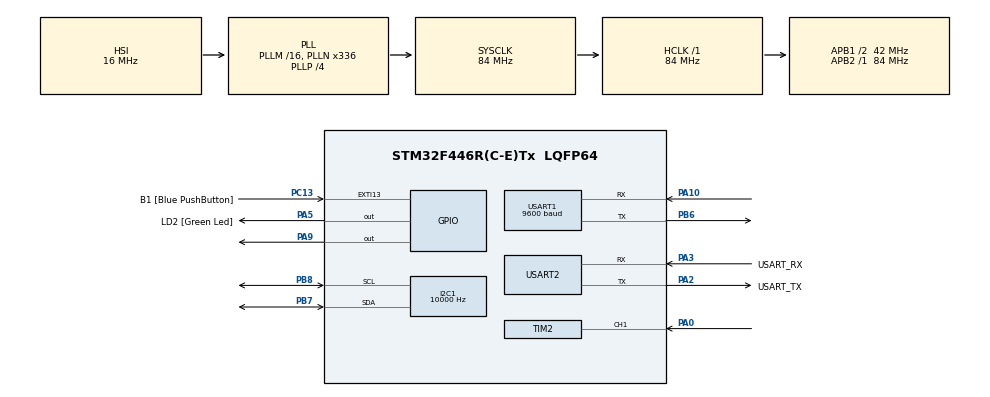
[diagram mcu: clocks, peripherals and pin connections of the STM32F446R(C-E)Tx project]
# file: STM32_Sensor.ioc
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FREERTOS.Tasks01=defaultTask,0,128,StartDefaultTask,Default,NULL,Dynamic,NULL,NULL
I2C1.ClockSpeed=10000
Mcu.Family=STM32F4
Mcu.Name=STM32F446R(C-E)Tx
Mcu.Package=LQFP64
NVIC.PriorityGroup=NVIC_PRIORITYGROUP_4
NVIC.TIM2_IRQn=true\:5\:0\:false\:false\:true\:true\:true\:true
PA0-WKUP.Signal=S_TIM2_CH1_ETR
PA10.Mode=Asynchronous
PA10.Signal=USART1_RX
PA13.GPIO_Label=TMS
PA13.Mode=Serial_Wire
PA13.Signal=SYS_JTMS-SWDIO
PA14.GPIO_Label=TCK
PA14.Mode=Serial_Wire
PA14.Signal=SYS_JTCK-SWCLK
PA2.GPIO_Label=USART_TX
PA2.Mode=Asynchronous
PA2.Signal=USART2_TX
PA3.GPIO_Label=USART_RX
PA3.Mode=Asynchronous
PA3.Signal=USART2_RX
PA5.GPIO_Label=LD2 [Green Led]
PA5.Signal=GPIO_Output
PA9.Signal=GPIO_Output
PB3.GPIO_Label=SWO
PB3.Signal=SYS_JTDO-SWO
PB6.Mode=Asynchronous
PB6.Signal=USART1_TX
PB7.Mode=I2C
PB7.Signal=I2C1_SDA
PB8.Mode=I2C
PB8.Signal=I2C1_SCL
PC13.GPIO_Label=B1 [Blue PushButton]
PC13.GPIO_ModeDefaultEXTI=GPIO_MODE_IT_FALLING
PC13.Signal=GPXTI13
PC14-OSC32_IN.Mode=LSE-External-Oscillator
PC14-OSC32_IN.Signal=RCC_OSC32_IN
PC15-OSC32_OUT.Mode=LSE-External-Oscillator
PC15-OSC32_OUT.Signal=RCC_OSC32_OUT
PH0-OSC_IN.Mode=HSE-External-Oscillator
PH0-OSC_IN.Signal=RCC_OSC_IN
PH1-OSC_OUT.Mode=HSE-External-Oscillator
PH1-OSC_OUT.Signal=RCC_OSC_OUT
ProjectManager.HeapSize=0x200
ProjectManager.StackSize=0x400
ProjectManager.TargetToolchain=STM32CubeIDE
RCC.48MHZClocksFreq_Value=84000000
RCC.AHBFreq_Value=84000000
RCC.APB1CLKDivider=RCC_HCLK_DIV2
RCC.APB1Freq_Value=42000000
RCC.APB1TimFreq_Value=84000000
RCC.APB2Freq_Value=84000000
RCC.APB2TimFreq_Value=84000000
RCC.CortexFreq_Value=84000000
RCC.FLatency-AdvancedSettings=FLASH_LATENCY_2
RCC.HCLKFreq_Value=84000000
RCC.HSE_VALUE=8000000
RCC.HSI_VALUE=16000000
RCC.PLLN=336
RCC.PLLP=RCC_PLLP_DIV4
RCC.SYSCLKFreq_VALUE=84000000
RCC.SYSCLKSource=RCC_SYSCLKSOURCE_PLLCLK
RCC.USBFreq_Value=168000000
RCC.VCOOutputFreq_Value=336000000
SH.S_TIM2_CH1_ETR.0=TIM2_CH1,Input_Capture1_from_TI1
TIM2.Channel-Input_Capture1_from_TI1=TIM_CHANNEL_1
TIM2.Period=0xffff-1
TIM2.Prescaler=84-1
USART1.BaudRate=9600
USART1.VirtualMode=VM_ASYNC
USART2.VirtualMode=VM_ASYNC
VP_FREERTOS_VS_CMSIS_V1.Mode=CMSIS_V1
board=NUCLEO-F446RE

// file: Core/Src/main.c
/* USER CODE BEGIN Header */
/**
  ******************************************************************************
  * @file           : main.c
  * @brief          : Main program body
  ******************************************************************************
  * @attention
  *
  * <h2><center>&copy; Copyright (c) 2020 STMicroelectronics.
  * All rights reserved.</center></h2>
  *
  * This software component is licensed by ST under BSD 3-Clause license,
  * the "License"; You may not use this file except in compliance with the
  * License. You may obtain a copy of the License at:
  *                        opensource.org/licenses/BSD-3-Clause
  *
  ******************************************************************************
  */
/* USER CODE END Header */

#include "main.h"
#include "cmsis_os.h"

/* USER CODE BEGIN Includes */
#include <string.h>
#include<stdio.h>
#include "TJ_MPU6050.h"
#include "STM32_HCSR04.h"
/* USER CODE END Includes */

I2C_HandleTypeDef hi2c1;

TIM_HandleTypeDef htim2;

UART_HandleTypeDef huart1;
UART_HandleTypeDef huart2;

osThreadId defaultTaskHandle;
/* USER CODE BEGIN PV */

osThreadId MPU6050TaskHandle;

uint8_t Distance  = 0;
uint16_t DevAddress=(0x68 << 1);

RawData_Def myAccelRaw, myGyroRaw;
ScaledData_Def myAccelScaled, myGyroScaled;
/* USER CODE END PV */

void SystemClock_Config(void);
static void MX_GPIO_Init(void);
static void MX_USART2_UART_Init(void);
static void MX_I2C1_Init(void);
static void MX_TIM2_Init(void);
static void MX_USART1_UART_Init(void);
void StartDefaultTask(void const * argument);

/* USER CODE BEGIN PFP */
void StartMPU6050Task(void const * argument);
/* USER CODE END PFP */

int main(void)
{
  /* USER CODE BEGIN 1 */
	uint8_t check;

	MPU_ConfigTypeDef myMpuConfig;
  /* USER CODE END 1 */

  /* MCU Configuration--------------------------------------------------------*/

  /* Reset of all peripherals, Initializes the Flash interface and the Systick. */
  HAL_Init();

  /* Configure the system clock */
  SystemClock_Config();

  /* Initialize all configured peripherals */
  MX_GPIO_Init();
  MX_USART2_UART_Init();
  MX_I2C1_Init();
  MX_TIM2_Init();
  MX_USART1_UART_Init();
  /* USER CODE BEGIN 2 */
   HAL_I2C_Mem_Read(&hi2c1, DevAddress, 0x75,1, &check,1,1000);

   //1. Initialise the MPU6050 module and I2C
   	MPU6050_Init(&hi2c1);
   	//2. Configure Accel and Gyro parameters
   	myMpuConfig.Accel_Full_Scale = AFS_SEL_4g;
   	myMpuConfig.ClockSource = Internal_8MHz;
   	myMpuConfig.CONFIG_DLPF = DLPF_184A_188G_Hz;
   	myMpuConfig.Gyro_Full_Scale = FS_SEL_500;
   	myMpuConfig.Sleep_Mode_Bit = 0;  //1: sleep mode, 0: normal mode
   	MPU6050_Config(&myMpuConfig);
  /* USER CODE END 2 */

  /* Create the thread(s) */
  /* definition and creation of defaultTask */
  osThreadDef(defaultTask, StartDefaultTask, osPriorityNormal, 0, 128);
  defaultTaskHandle = osThreadCreate(osThread(defaultTask), NULL);

  /* USER CODE BEGIN RTOS_THREADS */
  /* add threads, ... */
  osThreadDef(MPU6050Task, StartMPU6050Task, osPriorityNormal, 0, 128);
  MPU6050TaskHandle = osThreadCreate(osThread(MPU6050Task), NULL);

  HAL_TIM_IC_Start_IT(&htim2, TIM_CHANNEL_1);
  /* USER CODE END RTOS_THREADS */

  /* Start scheduler */
  osKernelStart();

  /* We should never get here as control is now taken by the scheduler */
  /* Infinite loop */
  while (1)
  {

  }
}

void SystemClock_Config(void)
{
  RCC_OscInitTypeDef RCC_OscInitStruct = {0};
  RCC_ClkInitTypeDef RCC_ClkInitStruct = {0};

  /** Configure the main internal regulator output voltage
  */
  __HAL_RCC_PWR_CLK_ENABLE();
  __HAL_PWR_VOLTAGESCALING_CONFIG(PWR_REGULATOR_VOLTAGE_SCALE3);
  /** Initializes the CPU, AHB and APB busses clocks
  */
  RCC_OscInitStruct.OscillatorType = RCC_OSCILLATORTYPE_HSI;
  RCC_OscInitStruct.HSIState = RCC_HSI_ON;
  RCC_OscInitStruct.HSICalibrationValue = RCC_HSICALIBRATION_DEFAULT;
  RCC_OscInitStruct.PLL.PLLState = RCC_PLL_ON;
  RCC_OscInitStruct.PLL.PLLSource = RCC_PLLSOURCE_HSI;
  RCC_OscInitStruct.PLL.PLLM = 16;
  RCC_OscInitStruct.PLL.PLLN = 336;
  RCC_OscInitStruct.PLL.PLLP = RCC_PLLP_DIV4;
  RCC_OscInitStruct.PLL.PLLQ = 2;
  RCC_OscInitStruct.PLL.PLLR = 2;
  if (HAL_RCC_OscConfig(&RCC_OscInitStruct) != HAL_OK)
  {
    Error_Handler();
  }
  /** Initializes the CPU, AHB and APB busses clocks
  */
  RCC_ClkInitStruct.ClockType = RCC_CLOCKTYPE_HCLK|RCC_CLOCKTYPE_SYSCLK
                              |RCC_CLOCKTYPE_PCLK1|RCC_CLOCKTYPE_PCLK2;
  RCC_ClkInitStruct.SYSCLKSource = RCC_SYSCLKSOURCE_PLLCLK;
  RCC_ClkInitStruct.AHBCLKDivider = RCC_SYSCLK_DIV1;
  RCC_ClkInitStruct.APB1CLKDivider = RCC_HCLK_DIV2;
  RCC_ClkInitStruct.APB2CLKDivider = RCC_HCLK_DIV1;

  if (HAL_RCC_ClockConfig(&RCC_ClkInitStruct, FLASH_LATENCY_2) != HAL_OK)
  {
    Error_Handler();
  }
}

static void MX_I2C1_Init(void)
{

  hi2c1.Instance = I2C1;
  hi2c1.Init.ClockSpeed = 10000;
  hi2c1.Init.DutyCycle = I2C_DUTYCYCLE_2;
  hi2c1.Init.OwnAddress1 = 0;
  hi2c1.Init.AddressingMode = I2C_ADDRESSINGMODE_7BIT;
  hi2c1.Init.DualAddressMode = I2C_DUALADDRESS_DISABLE;
  hi2c1.Init.OwnAddress2 = 0;
  hi2c1.Init.GeneralCallMode = I2C_GENERALCALL_DISABLE;
  hi2c1.Init.NoStretchMode = I2C_NOSTRETCH_DISABLE;
  if (HAL_I2C_Init(&hi2c1) != HAL_OK)
  {
    Error_Handler();
  }

}

static void MX_TIM2_Init(void)
{

  TIM_MasterConfigTypeDef sMasterConfig = {0};
  TIM_IC_InitTypeDef sConfigIC = {0};

  htim2.Instance = TIM2;
  htim2.Init.Prescaler = 84-1;
  htim2.Init.CounterMode = TIM_COUNTERMODE_UP;
  htim2.Init.Period = 0xffff-1;
  htim2.Init.ClockDivision = TIM_CLOCKDIVISION_DIV1;
  htim2.Init.AutoReloadPreload = TIM_AUTORELOAD_PRELOAD_DISABLE;
  if (HAL_TIM_IC_Init(&htim2) != HAL_OK)
  {
    Error_Handler();
  }
  sMasterConfig.MasterOutputTrigger = TIM_TRGO_RESET;
  sMasterConfig.MasterSlaveMode = TIM_MASTERSLAVEMODE_DISABLE;
  if (HAL_TIMEx_MasterConfigSynchronization(&htim2, &sMasterConfig) != HAL_OK)
  {
    Error_Handler();
  }
  sConfigIC.ICPolarity = TIM_INPUTCHANNELPOLARITY_RISING;
  sConfigIC.ICSelection = TIM_ICSELECTION_DIRECTTI;
  sConfigIC.ICPrescaler = TIM_ICPSC_DIV1;
  sConfigIC.ICFilter = 0;
  if (HAL_TIM_IC_ConfigChannel(&htim2, &sConfigIC, TIM_CHANNEL_1) != HAL_OK)
  {
    Error_Handler();
  }

}

static void MX_USART1_UART_Init(void)
{

  huart1.Instance = USART1;
  huart1.Init.BaudRate = 9600;
  huart1.Init.WordLength = UART_WORDLENGTH_8B;
  huart1.Init.StopBits = UART_STOPBITS_1;
  huart1.Init.Parity = UART_PARITY_NONE;
  huart1.Init.Mode = UART_MODE_TX_RX;
  huart1.Init.HwFlowCtl = UART_HWCONTROL_NONE;
  huart1.Init.OverSampling = UART_OVERSAMPLING_16;
  if (HAL_UART_Init(&huart1) != HAL_OK)
  {
    Error_Handler();
  }

}

static void MX_USART2_UART_Init(void)
{

  huart2.Instance = USART2;
  huart2.Init.BaudRate = 115200;
  huart2.Init.WordLength = UART_WORDLENGTH_8B;
  huart2.Init.StopBits = UART_STOPBITS_1;
  huart2.Init.Parity = UART_PARITY_NONE;
  huart2.Init.Mode = UART_MODE_TX_RX;
  huart2.Init.HwFlowCtl = UART_HWCONTROL_NONE;
  huart2.Init.OverSampling = UART_OVERSAMPLING_16;
  if (HAL_UART_Init(&huart2) != HAL_OK)
  {
    Error_Handler();
  }

}

static void MX_GPIO_Init(void)
{
  GPIO_InitTypeDef GPIO_InitStruct = {0};

  /* GPIO Ports Clock Enable */
  __HAL_RCC_GPIOC_CLK_ENABLE();
  __HAL_RCC_GPIOH_CLK_ENABLE();
  __HAL_RCC_GPIOA_CLK_ENABLE();
  __HAL_RCC_GPIOB_CLK_ENABLE();

  /*Configure GPIO pin Output Level */
  HAL_GPIO_WritePin(GPIOA, LD2_Pin|GPIO_PIN_9, GPIO_PIN_RESET);

  /*Configure GPIO pin : B1_Pin */
  GPIO_InitStruct.Pin = B1_Pin;
  GPIO_InitStruct.Mode = GPIO_MODE_IT_FALLING;
  GPIO_InitStruct.Pull = GPIO_NOPULL;
  HAL_GPIO_Init(B1_GPIO_Port, &GPIO_InitStruct);

  /*Configure GPIO pins : LD2_Pin PA9 */
  GPIO_InitStruct.Pin = LD2_Pin|GPIO_PIN_9;
  GPIO_InitStruct.Mode = GPIO_MODE_OUTPUT_PP;
  GPIO_InitStruct.Pull = GPIO_NOPULL;
  GPIO_InitStruct.Speed = GPIO_SPEED_FREQ_LOW;
  HAL_GPIO_Init(GPIOA, &GPIO_InitStruct);

}

/* USER CODE BEGIN 4 */
void HAL_TIM_IC_CaptureCallback(TIM_HandleTypeDef *htim)
{
	HAL_TIM_IC_CaptureCallback_HCSR04_Ch1(htim,&Distance);

}

void StartMPU6050Task(void const * argument)
{

	/* Infinite loop */
	  for(;;)
	  {
		  //Raw data
		  MPU6050_Get_Accel_RawData(&myAccelRaw);
		  MPU6050_Get_Gyro_RawData(&myGyroRaw);
		  //scaled
		 MPU6050_Get_Accel_Scale(&myAccelScaled);
		  MPU6050_Get_Gyro_Scale(&myGyroScaled);
		  osDelay(1);
	  }
}
/* USER CODE END 4 */

void StartDefaultTask(void const * argument)
{
  /* USER CODE BEGIN 5 */
	char pData[20];
	memset(pData,0,sizeof(pData));
	uint8_t Hexa[1]={0xFF};
  /* Infinite loop */
  for(;;)
  {
	HCSR04_Read (&htim2);
//	HAL_Delay(1);
	//Send Distance to Nextion display
	sprintf(pData,"n0.val=%d",Distance%400);
	HAL_UART_Transmit(&huart1, (uint8_t*)pData, strlen(pData), 3000);

	HAL_UART_Transmit(&huart1,Hexa, sizeof(Hexa), 3000);
	HAL_UART_Transmit(&huart1,Hexa, sizeof(Hexa), 3000);
	HAL_UART_Transmit(&huart1,Hexa, sizeof(Hexa), 3000);

    osDelay(1);
  }
  /* USER CODE END 5 */
}

void Error_Handler(void)
{
}

/************************ (C) COPYRIGHT STMicroelectronics *****END OF FILE****/
